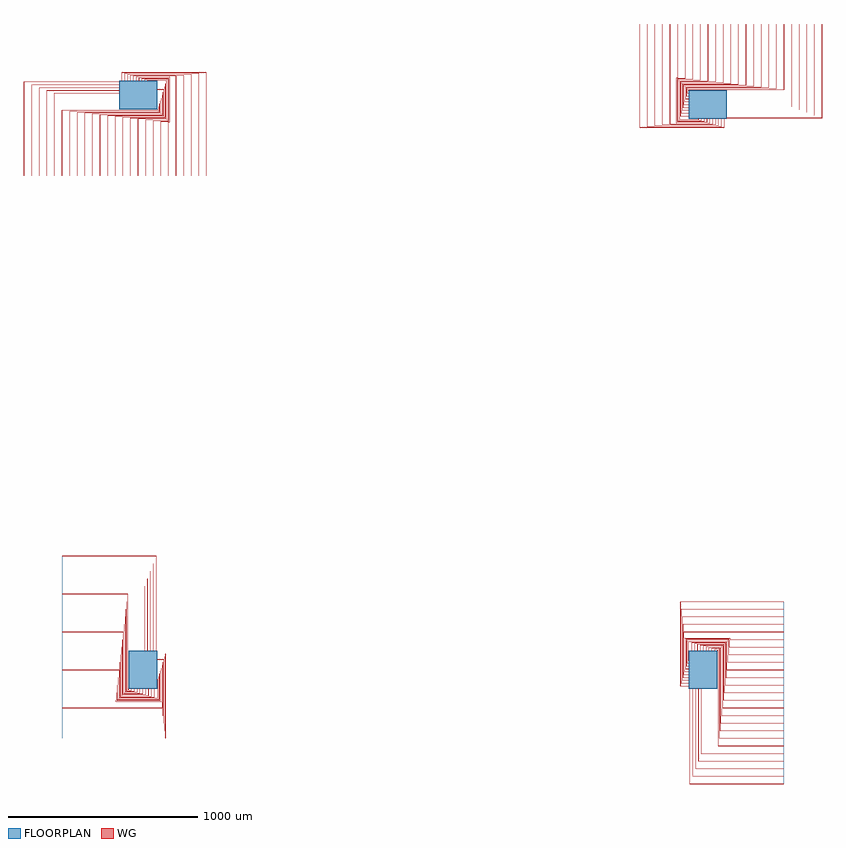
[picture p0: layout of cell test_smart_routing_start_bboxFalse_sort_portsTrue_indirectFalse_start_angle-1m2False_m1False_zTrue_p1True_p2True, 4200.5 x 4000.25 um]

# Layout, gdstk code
import gdstk
lib = gdstk.Library(unit=1e-6, precision=1e-09)
def R(c, l, rs):  # rectangles x0, y0, x1, y1
    for r in rs: c.add(gdstk.rectangle(r[:2], r[2:], *l))
def P(c, l, *ps):  # polygons
    for p in ps: c.add(gdstk.Polygon(p, *l))
WG = (1, 0)
FLOORPLAN = (10, 0)

test_smart_routing_start = lib.new_cell('test_smart_routing_start_bboxFalse_sort_portsTrue_indirectFalse_start_angle-1m2False_m1False_zTrue_p1True_p2True')
P(test_smart_routing_start, WG, [(3100,2905.05),(3100,2905.25),(3599.75,2905.25),(3599.75,3400),(3599.95,3400),(3599.95,2905.05)],
  [(3100,2904.75),(3100,2904.95),(3600.05,2904.95),(3600.05,3400),(3600.25,3400),(3600.25,2904.75)],
  [(3100,2920.05),(3100,2920.25),(3559.75,2920.25),(3559.75,3400),(3559.95,3400),(3559.95,2920.05)],
  [(3100,2919.75),(3100,2919.95),(3560.05,2919.95),(3560.05,3400),(3560.25,3400),(3560.25,2919.75)],
  [(3100,2935.05),(3100,2935.25),(3519.75,2935.25),(3519.75,3400),(3519.95,3400),(3519.95,2935.05)],
  [(3100,2934.75),(3100,2934.95),(3520.05,2934.95),(3520.05,3400),(3520.25,3400),(3520.25,2934.75)],
  [(3100,2950.05),(3100,2950.25),(3479.75,2950.25),(3479.75,3400),(3479.95,3400),(3479.95,2950.05)],
  [(3100,2949.75),(3100,2949.95),(3480.05,2949.95),(3480.05,3400),(3480.25,3400),(3480.25,2949.75)],
  [(3100,2965.05),(3100,2965.25),(3439.75,2965.25),(3439.75,3400),(3439.95,3400),(3439.95,2965.05)],
  [(3100,2964.75),(3100,2964.95),(3440.05,2964.95),(3440.05,3400),(3440.25,3400),(3440.25,2964.75)],
  [(2895.5,3049.75),(2895.5,3054.75),(3399.75,3054.75),(3399.75,3400),(3399.95,3400),(3399.95,3054.55),(2895.7,3054.55),(2895.7,3049.95),(2900,3049.95),(2900,3049.75)],
  [(2895.8,3050.05),(2895.8,3054.45),(3400.05,3054.45),(3400.05,3400),(3400.25,3400),(3400.25,3054.25),(2896,3054.25),(2896,3050.25),(2900,3050.25),(2900,3050.05)],
  [(2891,3034.75),(2891,3059.25),(3359.75,3059.25),(3359.75,3400),(3359.95,3400),(3359.95,3059.05),(2891.2,3059.05),(2891.2,3034.95),(2900,3034.95),(2900,3034.75)],
  [(2891.3,3035.05),(2891.3,3058.95),(3360.05,3058.95),(3360.05,3400),(3360.25,3400),(3360.25,3058.75),(2891.5,3058.75),(2891.5,3035.25),(2900,3035.25),(2900,3035.05)],
  [(2886.5,3019.75),(2886.5,3063.75),(3319.75,3063.75),(3319.75,3400),(3319.95,3400),(3319.95,3063.55),(2886.7,3063.55),(2886.7,3019.95),(2900,3019.95),(2900,3019.75)],
  [(2886.8,3020.05),(2886.8,3063.45),(3320.05,3063.45),(3320.05,3400),(3320.25,3400),(3320.25,3063.25),(2887,3063.25),(2887,3020.25),(2900,3020.25),(2900,3020.05)],
  [(2882,3004.75),(2882,3068.25),(3279.75,3068.25),(3279.75,3400),(3279.95,3400),(3279.95,3068.05),(2882.2,3068.05),(2882.2,3004.95),(2900,3004.95),(2900,3004.75)],
  [(2882.3,3005.05),(2882.3,3067.95),(3280.05,3067.95),(3280.05,3400),(3280.25,3400),(3280.25,3067.75),(2882.5,3067.75),(2882.5,3005.25),(2900,3005.25),(2900,3005.05)],
  [(2877.5,2989.75),(2877.5,3072.75),(3239.75,3072.75),(3239.75,3400),(3239.95,3400),(3239.95,3072.55),(2877.7,3072.55),(2877.7,2989.95),(2900,2989.95),(2900,2989.75)],
  [(2877.8,2990.05),(2877.8,3072.45),(3240.05,3072.45),(3240.05,3400),(3240.25,3400),(3240.25,3072.25),(2878,3072.25),(2878,2990.25),(2900,2990.25),(2900,2990.05)],
  [(2873,2974.75),(2873,3077.25),(3199.75,3077.25),(3199.75,3400),(3199.95,3400),(3199.95,3077.05),(2873.2,3077.05),(2873.2,2974.95),(2900,2974.95),(2900,2974.75)],
  [(2873.3,2975.05),(2873.3,3076.95),(3200.05,3076.95),(3200.05,3400),(3200.25,3400),(3200.25,3076.75),(2873.5,3076.75),(2873.5,2975.25),(2900,2975.25),(2900,2975.05)],
  [(2868.5,2959.75),(2868.5,3081.75),(3159.75,3081.75),(3159.75,3400),(3159.95,3400),(3159.95,3081.55),(2868.7,3081.55),(2868.7,2959.95),(2900,2959.95),(2900,2959.75)],
  [(2868.8,2960.05),(2868.8,3081.45),(3160.05,3081.45),(3160.05,3400),(3160.25,3400),(3160.25,3081.25),(2869,3081.25),(2869,2960.25),(2900,2960.25),(2900,2960.05)],
  [(2864,2944.75),(2864,3086.25),(3119.75,3086.25),(3119.75,3400),(3119.95,3400),(3119.95,3086.05),(2864.2,3086.05),(2864.2,2944.95),(2900,2944.95),(2900,2944.75)],
  [(2864.3,2945.05),(2864.3,3085.95),(3120.05,3085.95),(3120.05,3400),(3120.25,3400),(3120.25,3085.75),(2864.5,3085.75),(2864.5,2945.25),(2900,2945.25),(2900,2945.05)],
  [(2859.5,2929.75),(2859.5,3090.75),(3079.75,3090.75),(3079.75,3400),(3079.95,3400),(3079.95,3090.55),(2859.7,3090.55),(2859.7,2929.95),(2900,2929.95),(2900,2929.75)],
  [(2859.8,2930.05),(2859.8,3090.45),(3080.05,3090.45),(3080.05,3400),(3080.25,3400),(3080.25,3090.25),(2860,3090.25),(2860,2930.25),(2900,2930.25),(2900,2930.05)],
  [(2855,2914.75),(2855,3095.25),(3039.75,3095.25),(3039.75,3400),(3039.95,3400),(3039.95,3095.05),(2855.2,3095.05),(2855.2,2914.95),(2900,2914.95),(2900,2914.75)],
  [(2855.3,2915.05),(2855.3,3094.95),(3040.05,3094.95),(3040.05,3400),(3040.25,3400),(3040.25,3094.75),(2855.5,3094.75),(2855.5,2915.25),(2900,2915.25),(2900,2915.05)],
  [(2850.5,2895.5),(2850.5,3099.75),(2999.75,3099.75),(2999.75,3400),(2999.95,3400),(2999.95,3099.55),(2850.7,3099.55),(2850.7,2895.7),(2950.05,2895.7),(2950.05,2900),(2950.25,2900),(2950.25,2895.5)],
  [(2850.8,2895.8),(2850.8,3099.45),(3000.05,3099.45),(3000.05,3400),(3000.25,3400),(3000.25,3099.25),(2851,3099.25),(2851,2896),(2949.75,2896),(2949.75,2900),(2949.95,2900),(2949.95,2895.8)],
  [(2846,2891),(2846,3104.25),(2959.75,3104.25),(2959.75,3400),(2959.95,3400),(2959.95,3104.05),(2846.2,3104.05),(2846.2,2891.2),(2965.05,2891.2),(2965.05,2900),(2965.25,2900),(2965.25,2891)],
  [(2846.3,2891.3),(2846.3,3103.95),(2960.05,3103.95),(2960.05,3400),(2960.25,3400),(2960.25,3103.75),(2846.5,3103.75),(2846.5,2891.5),(2964.75,2891.5),(2964.75,2900),(2964.95,2900),(2964.95,2891.3)],
  [(2841.5,2886.5),(2841.5,3108.75),(2919.75,3108.75),(2919.75,3400),(2919.95,3400),(2919.95,3108.55),(2841.7,3108.55),(2841.7,2886.7),(2980.05,2886.7),(2980.05,2900),(2980.25,2900),(2980.25,2886.5)],
  [(2841.8,2886.8),(2841.8,3108.45),(2920.05,3108.45),(2920.05,3400),(2920.25,3400),(2920.25,3108.25),(2842,3108.25),(2842,2887),(2979.75,2887),(2979.75,2900),(2979.95,2900),(2979.95,2886.8)],
  [(2837,2882),(2837,3113.25),(2879.75,3113.25),(2879.75,3400),(2879.95,3400),(2879.95,3113.05),(2837.2,3113.05),(2837.2,2882.2),(2995.05,2882.2),(2995.05,2900),(2995.25,2900),(2995.25,2882)],
  [(2837.3,2882.3),(2837.3,3112.95),(2880.05,3112.95),(2880.05,3400),(2880.25,3400),(2880.25,3112.75),(2837.5,3112.75),(2837.5,2882.5),(2994.75,2882.5),(2994.75,2900),(2994.95,2900),(2994.95,2882.3)],
  [(2832.5,2877.5),(2832.5,3117.75),(2839.75,3117.75),(2839.75,3400),(2839.95,3400),(2839.95,3117.55),(2832.7,3117.55),(2832.7,2877.7),(3010.05,2877.7),(3010.05,2900),(3010.25,2900),(3010.25,2877.5)],
  [(2832.8,2877.8),(2832.8,3117.45),(2840.05,3117.45),(2840.05,3400),(2840.25,3400),(2840.25,3117.25),(2833,3117.25),(2833,2878),(3009.75,2878),(3009.75,2900),(3009.95,2900),(3009.95,2877.8)],
  [(2799.75,2873),(2799.75,3400),(2799.95,3400),(2799.95,2873.2),(3025.05,2873.2),(3025.05,2900),(3025.25,2900),(3025.25,2873)],
  [(2800.05,2873.3),(2800.05,3400),(2800.25,3400),(2800.25,2873.5),(3024.75,2873.5),(3024.75,2900),(3024.95,2900),(3024.95,2873.3)],
  [(2759.75,2868.5),(2759.75,3400),(2759.95,3400),(2759.95,2868.7),(3040.05,2868.7),(3040.05,2900),(3040.25,2900),(3040.25,2868.5)],
  [(2760.05,2868.8),(2760.05,3400),(2760.25,3400),(2760.25,2869),(3039.75,2869),(3039.75,2900),(3039.95,2900),(3039.95,2868.8)],
  [(2719.75,2864),(2719.75,3400),(2719.95,3400),(2719.95,2864.2),(3055.05,2864.2),(3055.05,2900),(3055.25,2900),(3055.25,2864)],
  [(2720.05,2864.3),(2720.05,3400),(2720.25,3400),(2720.25,2864.5),(3054.75,2864.5),(3054.75,2900),(3054.95,2900),(3054.95,2864.3)],
  [(2679.75,2859.5),(2679.75,3400),(2679.95,3400),(2679.95,2859.7),(3070.05,2859.7),(3070.05,2900),(3070.25,2900),(3070.25,2859.5)],
  [(2680.05,2859.8),(2680.05,3400),(2680.25,3400),(2680.25,2860),(3069.75,2860),(3069.75,2900),(3069.95,2900),(3069.95,2859.8)],
  [(2639.75,2855),(2639.75,3400),(2639.95,3400),(2639.95,2855.2),(3085.05,2855.2),(3085.05,2900),(3085.25,2900),(3085.25,2855)],
  [(2640.05,2855.3),(2640.05,3400),(2640.25,3400),(2640.25,2855.5),(3084.75,2855.5),(3084.75,2900),(3084.95,2900),(3084.95,2855.3)],
  [(-599.95,2600),(-599.95,3094.95),(-100,3094.95),(-100,3094.75),(-599.75,3094.75),(-599.75,2600)],
  [(-600.25,2600),(-600.25,3095.25),(-100,3095.25),(-100,3095.05),(-600.05,3095.05),(-600.05,2600)],
  [(-559.95,2600),(-559.95,3079.95),(-100,3079.95),(-100,3079.75),(-559.75,3079.75),(-559.75,2600)],
  [(-560.25,2600),(-560.25,3080.25),(-100,3080.25),(-100,3080.05),(-560.05,3080.05),(-560.05,2600)],
  [(-519.95,2600),(-519.95,3064.95),(-100,3064.95),(-100,3064.75),(-519.75,3064.75),(-519.75,2600)],
  [(-520.25,2600),(-520.25,3065.25),(-100,3065.25),(-100,3065.05),(-520.05,3065.05),(-520.05,2600)],
  [(-479.95,2600),(-479.95,3049.95),(-100,3049.95),(-100,3049.75),(-479.75,3049.75),(-479.75,2600)],
  [(-480.25,2600),(-480.25,3050.25),(-100,3050.25),(-100,3050.05),(-480.05,3050.05),(-480.05,2600)],
  [(-439.95,2600),(-439.95,3034.95),(-100,3034.95),(-100,3034.75),(-439.75,3034.75),(-439.75,2600)],
  [(-440.25,2600),(-440.25,3035.25),(-100,3035.25),(-100,3035.05),(-440.05,3035.05),(-440.05,2600)],
  [(-400.25,2600),(-400.25,2945.75),(104,2945.75),(104,2949.75),(100,2949.75),(100,2949.95),(104.2,2949.95),(104.2,2945.55),(-400.05,2945.55),(-400.05,2600)],
  [(-399.95,2600),(-399.95,2945.45),(104.3,2945.45),(104.3,2950.05),(100,2950.05),(100,2950.25),(104.5,2950.25),(104.5,2945.25),(-399.75,2945.25),(-399.75,2600)],
  [(-360.25,2600),(-360.25,2941.25),(108.5,2941.25),(108.5,2964.75),(100,2964.75),(100,2964.95),(108.7,2964.95),(108.7,2941.05),(-360.05,2941.05),(-360.05,2600)],
  [(-359.95,2600),(-359.95,2940.95),(108.8,2940.95),(108.8,2965.05),(100,2965.05),(100,2965.25),(109,2965.25),(109,2940.75),(-359.75,2940.75),(-359.75,2600)],
  [(-320.25,2600),(-320.25,2936.75),(113,2936.75),(113,2979.75),(100,2979.75),(100,2979.95),(113.2,2979.95),(113.2,2936.55),(-320.05,2936.55),(-320.05,2600)],
  [(-319.95,2600),(-319.95,2936.45),(113.3,2936.45),(113.3,2980.05),(100,2980.05),(100,2980.25),(113.5,2980.25),(113.5,2936.25),(-319.75,2936.25),(-319.75,2600)],
  [(-280.25,2600),(-280.25,2932.25),(117.5,2932.25),(117.5,2994.75),(100,2994.75),(100,2994.95),(117.7,2994.95),(117.7,2932.05),(-280.05,2932.05),(-280.05,2600)],
  [(-279.95,2600),(-279.95,2931.95),(117.8,2931.95),(117.8,2995.05),(100,2995.05),(100,2995.25),(118,2995.25),(118,2931.75),(-279.75,2931.75),(-279.75,2600)],
  [(-240.25,2600),(-240.25,2927.75),(122,2927.75),(122,3009.75),(100,3009.75),(100,3009.95),(122.2,3009.95),(122.2,2927.55),(-240.05,2927.55),(-240.05,2600)],
  [(-239.95,2600),(-239.95,2927.45),(122.3,2927.45),(122.3,3010.05),(100,3010.05),(100,3010.25),(122.5,3010.25),(122.5,2927.25),(-239.75,2927.25),(-239.75,2600)],
  [(-200.25,2600),(-200.25,2923.25),(126.5,2923.25),(126.5,3024.75),(100,3024.75),(100,3024.95),(126.7,3024.95),(126.7,2923.05),(-200.05,2923.05),(-200.05,2600)],
  [(-199.95,2600),(-199.95,2922.95),(126.8,2922.95),(126.8,3025.05),(100,3025.05),(100,3025.25),(127,3025.25),(127,2922.75),(-199.75,2922.75),(-199.75,2600)],
  [(-160.25,2600),(-160.25,2918.75),(131,2918.75),(131,3039.75),(100,3039.75),(100,3039.95),(131.2,3039.95),(131.2,2918.55),(-160.05,2918.55),(-160.05,2600)],
  [(-159.95,2600),(-159.95,2918.45),(131.3,2918.45),(131.3,3040.05),(100,3040.05),(100,3040.25),(131.5,3040.25),(131.5,2918.25),(-159.75,2918.25),(-159.75,2600)],
  [(-120.25,2600),(-120.25,2914.25),(135.5,2914.25),(135.5,3054.75),(100,3054.75),(100,3054.95),(135.7,3054.95),(135.7,2914.05),(-120.05,2914.05),(-120.05,2600)],
  [(-119.95,2600),(-119.95,2913.95),(135.8,2913.95),(135.8,3055.05),(100,3055.05),(100,3055.25),(136,3055.25),(136,2913.75),(-119.75,2913.75),(-119.75,2600)],
  [(-80.25,2600),(-80.25,2909.75),(140,2909.75),(140,3069.75),(100,3069.75),(100,3069.95),(140.2,3069.95),(140.2,2909.55),(-80.05,2909.55),(-80.05,2600)],
  [(-79.95,2600),(-79.95,2909.45),(140.3,2909.45),(140.3,3070.05),(100,3070.05),(100,3070.25),(140.5,3070.25),(140.5,2909.25),(-79.75,2909.25),(-79.75,2600)],
  [(-40.25,2600),(-40.25,2905.25),(144.5,2905.25),(144.5,3084.75),(100,3084.75),(100,3084.95),(144.7,3084.95),(144.7,2905.05),(-40.05,2905.05),(-40.05,2600)],
  [(-39.95,2600),(-39.95,2904.95),(144.8,2904.95),(144.8,3085.05),(100,3085.05),(100,3085.25),(145,3085.25),(145,2904.75),(-39.75,2904.75),(-39.75,2600)],
  [(-0.25,2600),(-0.25,2900.75),(149,2900.75),(149,3104),(50.25,3104),(50.25,3100),(50.05,3100),(50.05,3104.2),(149.2,3104.2),(149.2,2900.55),(-0.05,2900.55),(-0.05,2600)],
  [(0.05,2600),(0.05,2900.45),(149.3,2900.45),(149.3,3104.3),(49.95,3104.3),(49.95,3100),(49.75,3100),(49.75,3104.5),(149.5,3104.5),(149.5,2900.25),(0.25,2900.25),(0.25,2600)],
  [(39.75,2600),(39.75,2896.25),(153.5,2896.25),(153.5,3108.5),(35.25,3108.5),(35.25,3100),(35.05,3100),(35.05,3108.7),(153.7,3108.7),(153.7,2896.05),(39.95,2896.05),(39.95,2600)],
  [(40.05,2600),(40.05,2895.95),(153.8,2895.95),(153.8,3108.8),(34.95,3108.8),(34.95,3100),(34.75,3100),(34.75,3109),(154,3109),(154,2895.75),(40.25,2895.75),(40.25,2600)],
  [(79.75,2600),(79.75,2891.75),(158,2891.75),(158,3113),(20.25,3113),(20.25,3100),(20.05,3100),(20.05,3113.2),(158.2,3113.2),(158.2,2891.55),(79.95,2891.55),(79.95,2600)],
  [(80.05,2600),(80.05,2891.45),(158.3,2891.45),(158.3,3113.3),(19.95,3113.3),(19.95,3100),(19.75,3100),(19.75,3113.5),(158.5,3113.5),(158.5,2891.25),(80.25,2891.25),(80.25,2600)],
  [(119.75,2600),(119.75,2887.25),(162.5,2887.25),(162.5,3117.5),(5.25,3117.5),(5.25,3100),(5.05,3100),(5.05,3117.7),(162.7,3117.7),(162.7,2887.05),(119.95,2887.05),(119.95,2600)],
  [(120.05,2600),(120.05,2886.95),(162.8,2886.95),(162.8,3117.8),(4.95,3117.8),(4.95,3100),(4.75,3100),(4.75,3118),(163,3118),(163,2886.75),(120.25,2886.75),(120.25,2600)],
  [(159.75,2600),(159.75,2882.75),(167,2882.75),(167,3122),(-9.75,3122),(-9.75,3100),(-9.95,3100),(-9.95,3122.2),(167.2,3122.2),(167.2,2882.55),(159.95,2882.55),(159.95,2600)],
  [(160.05,2600),(160.05,2882.45),(167.3,2882.45),(167.3,3122.3),(-10.05,3122.3),(-10.05,3100),(-10.25,3100),(-10.25,3122.5),(167.5,3122.5),(167.5,2882.25),(160.25,2882.25),(160.25,2600)],
  [(199.75,2600),(199.75,3126.5),(-24.75,3126.5),(-24.75,3100),(-24.95,3100),(-24.95,3126.7),(199.95,3126.7),(199.95,2600)],
  [(200.05,2600),(200.05,3126.8),(-25.05,3126.8),(-25.05,3100),(-25.25,3100),(-25.25,3127),(200.25,3127),(200.25,2600)],
  [(239.75,2600),(239.75,3131),(-39.75,3131),(-39.75,3100),(-39.95,3100),(-39.95,3131.2),(239.95,3131.2),(239.95,2600)],
  [(240.05,2600),(240.05,3131.3),(-40.05,3131.3),(-40.05,3100),(-40.25,3100),(-40.25,3131.5),(240.25,3131.5),(240.25,2600)],
  [(279.75,2600),(279.75,3135.5),(-54.75,3135.5),(-54.75,3100),(-54.95,3100),(-54.95,3135.7),(279.95,3135.7),(279.95,2600)],
  [(280.05,2600),(280.05,3135.8),(-55.05,3135.8),(-55.05,3100),(-55.25,3100),(-55.25,3136),(280.25,3136),(280.25,2600)],
  [(319.75,2600),(319.75,3140),(-69.75,3140),(-69.75,3100),(-69.95,3100),(-69.95,3140.2),(319.95,3140.2),(319.95,2600)],
  [(320.05,2600),(320.05,3140.3),(-70.05,3140.3),(-70.05,3100),(-70.25,3100),(-70.25,3140.5),(320.25,3140.5),(320.25,2600)],
  [(359.75,2600),(359.75,3144.5),(-84.75,3144.5),(-84.75,3100),(-84.95,3100),(-84.95,3144.7),(359.95,3144.7),(359.95,2600)],
  [(360.05,2600),(360.05,3144.8),(-85.05,3144.8),(-85.05,3100),(-85.25,3100),(-85.25,3145),(360.25,3145),(360.25,2600)],
  [(94.75,100),(94.75,599.75),(-400,599.75),(-400,599.95),(94.95,599.95),(94.95,100)],
  [(95.05,100),(95.05,600.05),(-400,600.05),(-400,600.25),(95.25,600.25),(95.25,100)],
  [(79.75,100),(79.75,559.75),(-400,559.75),(-400,559.95),(79.95,559.95),(79.95,100)],
  [(80.05,100),(80.05,560.05),(-400,560.05),(-400,560.25),(80.25,560.25),(80.25,100)],
  [(64.75,100),(64.75,519.75),(-400,519.75),(-400,519.95),(64.95,519.95),(64.95,100)],
  [(65.05,100),(65.05,520.05),(-400,520.05),(-400,520.25),(65.25,520.25),(65.25,100)],
  [(49.75,100),(49.75,479.75),(-400,479.75),(-400,479.95),(49.95,479.95),(49.95,100)],
  [(50.05,100),(50.05,480.05),(-400,480.05),(-400,480.25),(50.25,480.25),(50.25,100)],
  [(34.75,100),(34.75,439.75),(-400,439.75),(-400,439.95),(34.95,439.95),(34.95,100)],
  [(35.05,100),(35.05,440.05),(-400,440.05),(-400,440.25),(35.25,440.25),(35.25,100)],
  [(-54.75,-104.5),(-54.75,399.75),(-400,399.75),(-400,399.95),(-54.55,399.95),(-54.55,-104.3),(-49.95,-104.3),(-49.95,-100),(-49.75,-100),(-49.75,-104.5)],
  [(-54.45,-104.2),(-54.45,400.05),(-400,400.05),(-400,400.25),(-54.25,400.25),(-54.25,-104),(-50.25,-104),(-50.25,-100),(-50.05,-100),(-50.05,-104.2)],
  [(-59.25,-109),(-59.25,359.75),(-400,359.75),(-400,359.95),(-59.05,359.95),(-59.05,-108.8),(-34.95,-108.8),(-34.95,-100),(-34.75,-100),(-34.75,-109)],
  [(-58.95,-108.7),(-58.95,360.05),(-400,360.05),(-400,360.25),(-58.75,360.25),(-58.75,-108.5),(-35.25,-108.5),(-35.25,-100),(-35.05,-100),(-35.05,-108.7)],
  [(-63.75,-113.5),(-63.75,319.75),(-400,319.75),(-400,319.95),(-63.55,319.95),(-63.55,-113.3),(-19.95,-113.3),(-19.95,-100),(-19.75,-100),(-19.75,-113.5)],
  [(-63.45,-113.2),(-63.45,320.05),(-400,320.05),(-400,320.25),(-63.25,320.25),(-63.25,-113),(-20.25,-113),(-20.25,-100),(-20.05,-100),(-20.05,-113.2)],
  [(-68.25,-118),(-68.25,279.75),(-400,279.75),(-400,279.95),(-68.05,279.95),(-68.05,-117.8),(-4.95,-117.8),(-4.95,-100),(-4.75,-100),(-4.75,-118)],
  [(-67.95,-117.7),(-67.95,280.05),(-400,280.05),(-400,280.25),(-67.75,280.25),(-67.75,-117.5),(-5.25,-117.5),(-5.25,-100),(-5.05,-100),(-5.05,-117.7)],
  [(-72.75,-122.5),(-72.75,239.75),(-400,239.75),(-400,239.95),(-72.55,239.95),(-72.55,-122.3),(10.05,-122.3),(10.05,-100),(10.25,-100),(10.25,-122.5)],
  [(-72.45,-122.2),(-72.45,240.05),(-400,240.05),(-400,240.25),(-72.25,240.25),(-72.25,-122),(9.75,-122),(9.75,-100),(9.95,-100),(9.95,-122.2)],
  [(-77.25,-127),(-77.25,199.75),(-400,199.75),(-400,199.95),(-77.05,199.95),(-77.05,-126.8),(25.05,-126.8),(25.05,-100),(25.25,-100),(25.25,-127)],
  [(-76.95,-126.7),(-76.95,200.05),(-400,200.05),(-400,200.25),(-76.75,200.25),(-76.75,-126.5),(24.75,-126.5),(24.75,-100),(24.95,-100),(24.95,-126.7)],
  [(-81.75,-131.5),(-81.75,159.75),(-400,159.75),(-400,159.95),(-81.55,159.95),(-81.55,-131.3),(40.05,-131.3),(40.05,-100),(40.25,-100),(40.25,-131.5)],
  [(-81.45,-131.2),(-81.45,160.05),(-400,160.05),(-400,160.25),(-81.25,160.25),(-81.25,-131),(39.75,-131),(39.75,-100),(39.95,-100),(39.95,-131.2)],
  [(-86.25,-136),(-86.25,119.75),(-400,119.75),(-400,119.95),(-86.05,119.95),(-86.05,-135.8),(55.05,-135.8),(55.05,-100),(55.25,-100),(55.25,-136)],
  [(-85.95,-135.7),(-85.95,120.05),(-400,120.05),(-400,120.25),(-85.75,120.25),(-85.75,-135.5),(54.75,-135.5),(54.75,-100),(54.95,-100),(54.95,-135.7)],
  [(-90.75,-140.5),(-90.75,79.75),(-400,79.75),(-400,79.95),(-90.55,79.95),(-90.55,-140.3),(70.05,-140.3),(70.05,-100),(70.25,-100),(70.25,-140.5)],
  [(-90.45,-140.2),(-90.45,80.05),(-400,80.05),(-400,80.25),(-90.25,80.25),(-90.25,-140),(69.75,-140),(69.75,-100),(69.95,-100),(69.95,-140.2)],
  [(-95.25,-145),(-95.25,39.75),(-400,39.75),(-400,39.95),(-95.05,39.95),(-95.05,-144.8),(85.05,-144.8),(85.05,-100),(85.25,-100),(85.25,-145)],
  [(-94.95,-144.7),(-94.95,40.05),(-400,40.05),(-400,40.25),(-94.75,40.25),(-94.75,-144.5),(84.75,-144.5),(84.75,-100),(84.95,-100),(84.95,-144.7)],
  [(-99.75,-149.5),(-99.75,-0.25),(-400,-0.25),(-400,-0.05),(-99.55,-0.05),(-99.55,-149.3),(104.3,-149.3),(104.3,-49.95),(100,-49.95),(100,-49.75),(104.5,-49.75),(104.5,-149.5)],
  [(-99.45,-149.2),(-99.45,0.05),(-400,0.05),(-400,0.25),(-99.25,0.25),(-99.25,-149),(104,-149),(104,-50.25),(100,-50.25),(100,-50.05),(104.2,-50.05),(104.2,-149.2)],
  [(-103.95,-153.7),(-103.95,-39.95),(-400,-39.95),(-400,-39.75),(-103.75,-39.75),(-103.75,-153.5),(108.5,-153.5),(108.5,-35.25),(100,-35.25),(100,-35.05),(108.7,-35.05),(108.7,-153.7)],
  [(-104.25,-154),(-104.25,-40.25),(-400,-40.25),(-400,-40.05),(-104.05,-40.05),(-104.05,-153.8),(108.8,-153.8),(108.8,-34.95),(100,-34.95),(100,-34.75),(109,-34.75),(109,-154)],
  [(-108.45,-158.2),(-108.45,-79.95),(-400,-79.95),(-400,-79.75),(-108.25,-79.75),(-108.25,-158),(113,-158),(113,-20.25),(100,-20.25),(100,-20.05),(113.2,-20.05),(113.2,-158.2)],
  [(-108.75,-158.5),(-108.75,-80.25),(-400,-80.25),(-400,-80.05),(-108.55,-80.05),(-108.55,-158.3),(113.3,-158.3),(113.3,-19.95),(100,-19.95),(100,-19.75),(113.5,-19.75),(113.5,-158.5)],
  [(-112.95,-162.7),(-112.95,-119.95),(-400,-119.95),(-400,-119.75),(-112.75,-119.75),(-112.75,-162.5),(117.5,-162.5),(117.5,-5.25),(100,-5.25),(100,-5.05),(117.7,-5.05),(117.7,-162.7)],
  [(-113.25,-163),(-113.25,-120.25),(-400,-120.25),(-400,-120.05),(-113.05,-120.05),(-113.05,-162.8),(117.8,-162.8),(117.8,-4.95),(100,-4.95),(100,-4.75),(118,-4.75),(118,-163)],
  [(-117.45,-167.2),(-117.45,-159.95),(-400,-159.95),(-400,-159.75),(-117.25,-159.75),(-117.25,-167),(122,-167),(122,9.75),(100,9.75),(100,9.95),(122.2,9.95),(122.2,-167.2)],
  [(-117.75,-167.5),(-117.75,-160.25),(-400,-160.25),(-400,-160.05),(-117.55,-160.05),(-117.55,-167.3),(122.3,-167.3),(122.3,10.05),(100,10.05),(100,10.25),(122.5,10.25),(122.5,-167.5)],
  [(-400,-199.95),(-400,-199.75),(126.5,-199.75),(126.5,24.75),(100,24.75),(100,24.95),(126.7,24.95),(126.7,-199.95)],
  [(-400,-200.25),(-400,-200.05),(126.8,-200.05),(126.8,25.05),(100,25.05),(100,25.25),(127,25.25),(127,-200.25)],
  [(-400,-239.95),(-400,-239.75),(131,-239.75),(131,39.75),(100,39.75),(100,39.95),(131.2,39.95),(131.2,-239.95)],
  [(-400,-240.25),(-400,-240.05),(131.3,-240.05),(131.3,40.05),(100,40.05),(100,40.25),(131.5,40.25),(131.5,-240.25)],
  [(-400,-279.95),(-400,-279.75),(135.5,-279.75),(135.5,54.75),(100,54.75),(100,54.95),(135.7,54.95),(135.7,-279.95)],
  [(-400,-280.25),(-400,-280.05),(135.8,-280.05),(135.8,55.05),(100,55.05),(100,55.25),(136,55.25),(136,-280.25)],
  [(-400,-319.95),(-400,-319.75),(140,-319.75),(140,69.75),(100,69.75),(100,69.95),(140.2,69.95),(140.2,-319.95)],
  [(-400,-320.25),(-400,-320.05),(140.3,-320.05),(140.3,70.05),(100,70.05),(100,70.25),(140.5,70.25),(140.5,-320.25)],
  [(-400,-359.95),(-400,-359.75),(144.5,-359.75),(144.5,84.75),(100,84.75),(100,84.95),(144.7,84.95),(144.7,-359.95)],
  [(-400,-360.25),(-400,-360.05),(144.8,-360.05),(144.8,85.05),(100,85.05),(100,85.25),(145,85.25),(145,-360.25)],
  [(2904.75,-600.25),(2904.75,-100),(2904.95,-100),(2904.95,-600.05),(3400,-600.05),(3400,-600.25)],
  [(2905.05,-599.95),(2905.05,-100),(2905.25,-100),(2905.25,-599.75),(3400,-599.75),(3400,-599.95)],
  [(2919.75,-560.25),(2919.75,-100),(2919.95,-100),(2919.95,-560.05),(3400,-560.05),(3400,-560.25)],
  [(2920.05,-559.95),(2920.05,-100),(2920.25,-100),(2920.25,-559.75),(3400,-559.75),(3400,-559.95)],
  [(2934.75,-520.25),(2934.75,-100),(2934.95,-100),(2934.95,-520.05),(3400,-520.05),(3400,-520.25)],
  [(2935.05,-519.95),(2935.05,-100),(2935.25,-100),(2935.25,-519.75),(3400,-519.75),(3400,-519.95)],
  [(2949.75,-480.25),(2949.75,-100),(2949.95,-100),(2949.95,-480.05),(3400,-480.05),(3400,-480.25)],
  [(2950.05,-479.95),(2950.05,-100),(2950.25,-100),(2950.25,-479.75),(3400,-479.75),(3400,-479.95)],
  [(2964.75,-440.25),(2964.75,-100),(2964.95,-100),(2964.95,-440.05),(3400,-440.05),(3400,-440.25)],
  [(2965.05,-439.95),(2965.05,-100),(2965.25,-100),(2965.25,-439.75),(3400,-439.75),(3400,-439.95)],
  [(3054.25,-400.25),(3054.25,104),(3050.25,104),(3050.25,100),(3050.05,100),(3050.05,104.2),(3054.45,104.2),(3054.45,-400.05),(3400,-400.05),(3400,-400.25)],
  [(3054.55,-399.95),(3054.55,104.3),(3049.95,104.3),(3049.95,100),(3049.75,100),(3049.75,104.5),(3054.75,104.5),(3054.75,-399.75),(3400,-399.75),(3400,-399.95)],
  [(3058.75,-360.25),(3058.75,108.5),(3035.25,108.5),(3035.25,100),(3035.05,100),(3035.05,108.7),(3058.95,108.7),(3058.95,-360.05),(3400,-360.05),(3400,-360.25)],
  [(3059.05,-359.95),(3059.05,108.8),(3034.95,108.8),(3034.95,100),(3034.75,100),(3034.75,109),(3059.25,109),(3059.25,-359.75),(3400,-359.75),(3400,-359.95)],
  [(3063.25,-320.25),(3063.25,113),(3020.25,113),(3020.25,100),(3020.05,100),(3020.05,113.2),(3063.45,113.2),(3063.45,-320.05),(3400,-320.05),(3400,-320.25)],
  [(3063.55,-319.95),(3063.55,113.3),(3019.95,113.3),(3019.95,100),(3019.75,100),(3019.75,113.5),(3063.75,113.5),(3063.75,-319.75),(3400,-319.75),(3400,-319.95)],
  [(3067.75,-280.25),(3067.75,117.5),(3005.25,117.5),(3005.25,100),(3005.05,100),(3005.05,117.7),(3067.95,117.7),(3067.95,-280.05),(3400,-280.05),(3400,-280.25)],
  [(3068.05,-279.95),(3068.05,117.8),(3004.95,117.8),(3004.95,100),(3004.75,100),(3004.75,118),(3068.25,118),(3068.25,-279.75),(3400,-279.75),(3400,-279.95)],
  [(3072.25,-240.25),(3072.25,122),(2990.25,122),(2990.25,100),(2990.05,100),(2990.05,122.2),(3072.45,122.2),(3072.45,-240.05),(3400,-240.05),(3400,-240.25)],
  [(3072.55,-239.95),(3072.55,122.3),(2989.95,122.3),(2989.95,100),(2989.75,100),(2989.75,122.5),(3072.75,122.5),(3072.75,-239.75),(3400,-239.75),(3400,-239.95)],
  [(3076.75,-200.25),(3076.75,126.5),(2975.25,126.5),(2975.25,100),(2975.05,100),(2975.05,126.7),(3076.95,126.7),(3076.95,-200.05),(3400,-200.05),(3400,-200.25)],
  [(3077.05,-199.95),(3077.05,126.8),(2974.95,126.8),(2974.95,100),(2974.75,100),(2974.75,127),(3077.25,127),(3077.25,-199.75),(3400,-199.75),(3400,-199.95)],
  [(3081.25,-160.25),(3081.25,131),(2960.25,131),(2960.25,100),(2960.05,100),(2960.05,131.2),(3081.45,131.2),(3081.45,-160.05),(3400,-160.05),(3400,-160.25)],
  [(3081.55,-159.95),(3081.55,131.3),(2959.95,131.3),(2959.95,100),(2959.75,100),(2959.75,131.5),(3081.75,131.5),(3081.75,-159.75),(3400,-159.75),(3400,-159.95)],
  [(3085.75,-120.25),(3085.75,135.5),(2945.25,135.5),(2945.25,100),(2945.05,100),(2945.05,135.7),(3085.95,135.7),(3085.95,-120.05),(3400,-120.05),(3400,-120.25)],
  [(3086.05,-119.95),(3086.05,135.8),(2944.95,135.8),(2944.95,100),(2944.75,100),(2944.75,136),(3086.25,136),(3086.25,-119.75),(3400,-119.75),(3400,-119.95)],
  [(3090.25,-80.25),(3090.25,140),(2930.25,140),(2930.25,100),(2930.05,100),(2930.05,140.2),(3090.45,140.2),(3090.45,-80.05),(3400,-80.05),(3400,-80.25)],
  [(3090.55,-79.95),(3090.55,140.3),(2929.95,140.3),(2929.95,100),(2929.75,100),(2929.75,140.5),(3090.75,140.5),(3090.75,-79.75),(3400,-79.75),(3400,-79.95)],
  [(3094.75,-40.25),(3094.75,144.5),(2915.25,144.5),(2915.25,100),(2915.05,100),(2915.05,144.7),(3094.95,144.7),(3094.95,-40.05),(3400,-40.05),(3400,-40.25)],
  [(3095.05,-39.95),(3095.05,144.8),(2914.95,144.8),(2914.95,100),(2914.75,100),(2914.75,145),(3095.25,145),(3095.25,-39.75),(3400,-39.75),(3400,-39.95)],
  [(3099.25,-0.25),(3099.25,149),(2896,149),(2896,50.25),(2900,50.25),(2900,50.05),(2895.8,50.05),(2895.8,149.2),(3099.45,149.2),(3099.45,-0.05),(3400,-0.05),(3400,-0.25)],
  [(3099.55,0.05),(3099.55,149.3),(2895.7,149.3),(2895.7,49.95),(2900,49.95),(2900,49.75),(2895.5,49.75),(2895.5,149.5),(3099.75,149.5),(3099.75,0.25),(3400,0.25),(3400,0.05)],
  [(2891.3,35.05),(2891.3,153.7),(3103.95,153.7),(3103.95,39.95),(3400,39.95),(3400,39.75),(3103.75,39.75),(3103.75,153.5),(2891.5,153.5),(2891.5,35.25),(2900,35.25),(2900,35.05)],
  [(2891,34.75),(2891,154),(3104.25,154),(3104.25,40.25),(3400,40.25),(3400,40.05),(3104.05,40.05),(3104.05,153.8),(2891.2,153.8),(2891.2,34.95),(2900,34.95),(2900,34.75)],
  [(2886.8,20.05),(2886.8,158.2),(3108.45,158.2),(3108.45,79.95),(3400,79.95),(3400,79.75),(3108.25,79.75),(3108.25,158),(2887,158),(2887,20.25),(2900,20.25),(2900,20.05)],
  [(2886.5,19.75),(2886.5,158.5),(3108.75,158.5),(3108.75,80.25),(3400,80.25),(3400,80.05),(3108.55,80.05),(3108.55,158.3),(2886.7,158.3),(2886.7,19.95),(2900,19.95),(2900,19.75)],
  [(2882.3,5.05),(2882.3,162.7),(3112.95,162.7),(3112.95,119.95),(3400,119.95),(3400,119.75),(3112.75,119.75),(3112.75,162.5),(2882.5,162.5),(2882.5,5.25),(2900,5.25),(2900,5.05)],
  [(2882,4.75),(2882,163),(3113.25,163),(3113.25,120.25),(3400,120.25),(3400,120.05),(3113.05,120.05),(3113.05,162.8),(2882.2,162.8),(2882.2,4.95),(2900,4.95),(2900,4.75)],
  [(2877.8,-9.95),(2877.8,167.2),(3117.45,167.2),(3117.45,159.95),(3400,159.95),(3400,159.75),(3117.25,159.75),(3117.25,167),(2878,167),(2878,-9.75),(2900,-9.75),(2900,-9.95)],
  [(2877.5,-10.25),(2877.5,167.5),(3117.75,167.5),(3117.75,160.25),(3400,160.25),(3400,160.05),(3117.55,160.05),(3117.55,167.3),(2877.7,167.3),(2877.7,-10.05),(2900,-10.05),(2900,-10.25)],
  [(2873.3,-24.95),(2873.3,199.95),(3400,199.95),(3400,199.75),(2873.5,199.75),(2873.5,-24.75),(2900,-24.75),(2900,-24.95)],
  [(2873,-25.25),(2873,200.25),(3400,200.25),(3400,200.05),(2873.2,200.05),(2873.2,-25.05),(2900,-25.05),(2900,-25.25)],
  [(2868.8,-39.95),(2868.8,239.95),(3400,239.95),(3400,239.75),(2869,239.75),(2869,-39.75),(2900,-39.75),(2900,-39.95)],
  [(2868.5,-40.25),(2868.5,240.25),(3400,240.25),(3400,240.05),(2868.7,240.05),(2868.7,-40.05),(2900,-40.05),(2900,-40.25)],
  [(2864.3,-54.95),(2864.3,279.95),(3400,279.95),(3400,279.75),(2864.5,279.75),(2864.5,-54.75),(2900,-54.75),(2900,-54.95)],
  [(2864,-55.25),(2864,280.25),(3400,280.25),(3400,280.05),(2864.2,280.05),(2864.2,-55.05),(2900,-55.05),(2900,-55.25)],
  [(2859.8,-69.95),(2859.8,319.95),(3400,319.95),(3400,319.75),(2860,319.75),(2860,-69.75),(2900,-69.75),(2900,-69.95)],
  [(2859.5,-70.25),(2859.5,320.25),(3400,320.25),(3400,320.05),(2859.7,320.05),(2859.7,-70.05),(2900,-70.05),(2900,-70.25)],
  [(2855.3,-84.95),(2855.3,359.95),(3400,359.95),(3400,359.75),(2855.5,359.75),(2855.5,-84.75),(2900,-84.75),(2900,-84.95)],
  [(2855,-85.25),(2855,360.25),(3400,360.25),(3400,360.05),(2855.2,360.05),(2855.2,-85.05),(2900,-85.05),(2900,-85.25)])
R(test_smart_routing_start, FLOORPLAN, [(-50,-100,100,100), (2900,-100,3050,100), (2900,2900,3100,3050), (-100,2950,100,3100)])
P(test_smart_routing_start, FLOORPLAN, [(-400,-360),(-400,600),(-400,600),(-400,-360)],
  [(-600,2600),(-600,2600),(360,2600),(360,2600)],
  [(3400,-600),(3400,360),(3400,360),(3400,-600)],
  [(2640,3400),(2640,3400),(3600,3400),(3600,3400)])

lib.write_gds('test_smart_routing_start_bboxFalse_sort_portsTrue_indirectFalse_start_angle-1m2False_m1False_zTrue_p1True_p2True.gds')
